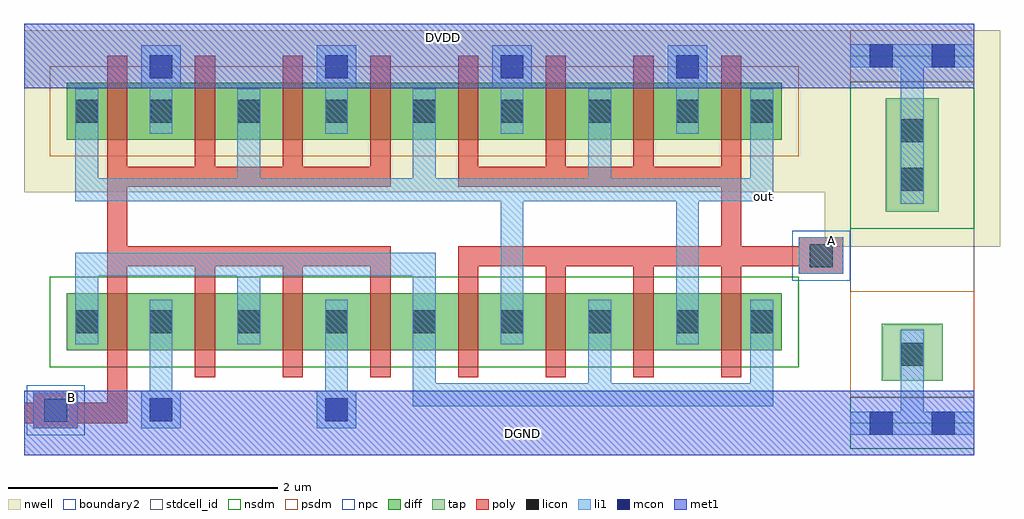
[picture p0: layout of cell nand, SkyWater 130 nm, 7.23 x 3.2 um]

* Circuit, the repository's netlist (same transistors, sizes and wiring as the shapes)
** sch_path: /home/student/ee5311/tutorial_5/nand.sch
.subckt nand DVDD DGND A B out
*.PININFO DVDD:B DGND:B A:B B:B out:B
XM1 DVDD B out DVDD sky130_fd_pr__pfet_01v8 L=0.15 W=1.68 nf=1
XM2 out A DVDD DVDD sky130_fd_pr__pfet_01v8 L=0.15 W=1.68 nf=1
XM3 out A net1 DGND sky130_fd_pr__nfet_01v8 L=0.15 W=1.68 nf=1
XM4 DGND B net1 DGND sky130_fd_pr__nfet_01v8 L=0.15 W=1.68 nf=1
.ends

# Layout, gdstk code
import gdstk
lib = gdstk.Library(unit=1e-6, precision=1e-09)
def R(c, l, rs):  # rectangles x0, y0, x1, y1
    for r in rs: c.add(gdstk.rectangle(r[:2], r[2:], *l))
def A(c, l, x, y, w, h, nx, ny, dx, dy):  # array of equal rectangles
    R(c, l, [(x+i*dx, y+j*dy, x+i*dx+w, y+j*dy+h) for i in range(nx) for j in range(ny)])
nwell = (64, 20)
diff = (65, 20)
tap = (65, 44)
poly = (66, 20)
licon = (66, 44)
li1 = (67, 20)
mcon = (67, 44)
met1 = (68, 20)
stdcell_id = (81, 4)
nsdm = (93, 44)
psdm = (94, 20)
npc = (95, 20)
boundary2 = (236, 0)

tap_ = lib.new_cell('tap')
R(tap_, nwell, [(-0.19,1.305,1.11,2.91)])
R(tap_, tap, [(0.235,0.315,0.685,0.735), (0.265,1.565,0.655,2.405)])
R(tap_, licon, [(0.375,0.425,0.545,0.595), (0.375,1.72,0.545,1.89), (0.375,2.08,0.545,2.25)])
R(tap_, li1, [(0,-0.085,0.92,0.085), (0.375,0,0.545,0.69), (0.375,1.625,0.545,2.72), (0,2.635,0.92,2.805)])
R(tap_, mcon, [(0.145,-0.085,0.315,0.085), (0.605,-0.085,0.775,0.085), (0.145,2.635,0.315,2.805), (0.605,2.635,0.775,2.805)])
R(tap_, met1, [(0,-0.24,0.92,0.24), (0,2.48,0.92,2.96)])
R(tap_, stdcell_id, [(0,0,0.92,2.72)])
R(tap_, nsdm, [(0,-0.19,0.92,0.19), (0,1.44,0.92,2.53)])
R(tap_, psdm, [(0,0.19,0.92,0.975), (0,2.53,0.92,2.91)])
R(tap_, boundary2, [(0,0,0.92,2.72)])
tap_.add(gdstk.Label('tap', (0,0), layer=83, texttype=44))

pfet = lib.new_cell('pfet')
R(pfet, nwell, [(-0.315,-0.39,5.615,0.81)])
R(pfet, diff, [(0,0,5.3,0.42)])
A(pfet, poly, 0.3, -0.2, 0.15, 0.82, 8, 1, 0.65, 0)
A(pfet, licon, 0.615, 0.125, 0.17, 0.17, 7, 1, 0.65, 0)
R(pfet, licon, [(0.065,0.125,0.235,0.295), (5.065,0.125,5.235,0.295)])
A(pfet, li1, 0.615, 0.045, 0.17, 0.33, 7, 1, 0.65, 0)
R(pfet, li1, [(0.065,0.045,0.235,0.375), (5.065,0.045,5.235,0.375)])
R(pfet, psdm, [(-0.125,-0.125,5.425,0.545)])

vias_gen = lib.new_cell('vias_gen')
R(vias_gen, li1, [(0,0,0.29,0.32)])
R(vias_gen, mcon, [(0.06,0.075,0.23,0.245)])
R(vias_gen, met1, [(0,0,0.29,0.32)])

vias_gen_2 = lib.new_cell('vias_gen$2')
R(vias_gen_2, li1, [(0,0,0.29,0.28)])
R(vias_gen_2, mcon, [(0.06,0.055,0.23,0.225)])
R(vias_gen_2, met1, [(0,0,0.29,0.28)])

nfet = lib.new_cell('nfet')
R(nfet, diff, [(0,0,5.3,0.42)])
A(nfet, poly, 0.3, -0.2, 0.15, 0.82, 8, 1, 0.65, 0)
A(nfet, licon, 0.615, 0.125, 0.17, 0.17, 7, 1, 0.65, 0)
R(nfet, licon, [(0.065,0.125,0.235,0.295), (5.065,0.125,5.235,0.295)])
A(nfet, li1, 0.615, 0.045, 0.17, 0.33, 7, 1, 0.65, 0)
R(nfet, li1, [(0.065,0.045,0.235,0.375), (5.065,0.045,5.235,0.375)])
R(nfet, nsdm, [(-0.125,-0.125,5.425,0.545)])

vias_gen_1 = lib.new_cell('vias_gen$1')
R(vias_gen_1, poly, [(0,0,0.33,0.27)])
R(vias_gen_1, licon, [(0.08,0.05,0.25,0.22)])
R(vias_gen_1, li1, [(0,0,0.33,0.27)])
R(vias_gen_1, npc, [(-0.05,-0.05,0.38,0.32)])

nand = lib.new_cell('nand')
nand.add(gdstk.FlexPath([(-1.735,2.165),(-1.735,2.49)], 0.17, ends="flush", simple_path=True, layer=67, datatype=20))  # li1
nand.add(gdstk.FlexPath([(-0.435,2.165),(-0.435,2.49)], 0.17, ends="flush", simple_path=True, layer=67, datatype=20))  # li1
nand.add(gdstk.FlexPath([(0.865,2.165),(0.865,2.49)], 0.17, ends="flush", simple_path=True, layer=67, datatype=20))  # li1
nand.add(gdstk.FlexPath([(2.165,2.165),(2.165,2.49)], 0.17, ends="flush", simple_path=True, layer=67, datatype=20))  # li1
nand.add(gdstk.FlexPath([(-0.435,0.275),(-0.435,-0.35)], 0.17, ends="flush", simple_path=True, layer=67, datatype=20))  # li1
nand.add(gdstk.FlexPath([(-1.735,0.275),(-1.735,-0.35)], 0.17, ends="flush", simple_path=True, layer=67, datatype=20))  # li1
nand.add(gdstk.FlexPath([(2.165,0.605),(2.165,1.335)], 0.17, ends="flush", simple_path=True, layer=67, datatype=20))  # li1
nand.add(gdstk.FlexPath([(0.865,0.605),(0.865,1.335)], 0.17, ends="flush", simple_path=True, layer=67, datatype=20))  # li1
nand.add(gdstk.FlexPath([(1.43,-0.1),(0.3,-0.1)], 0.17, ends="flush", simple_path=True, layer=67, datatype=20))  # li1
nand.add(gdstk.FlexPath([(2.63,-0.1),(1.6,-0.1)], 0.17, ends="flush", simple_path=True, layer=67, datatype=20))  # li1
nand.add(gdstk.FlexPath([(0.215,-0.185),(0.215,0.275)], 0.17, ends="flush", simple_path=True, layer=67, datatype=20))  # li1
nand.add(gdstk.FlexPath([(1.515,-0.185),(1.515,0.275)], 0.17, ends="flush", simple_path=True, layer=67, datatype=20))  # li1
nand.add(gdstk.FlexPath([(2.715,-0.185),(2.715,0.275)], 0.17, ends="flush", simple_path=True, layer=67, datatype=20))  # li1
nand.add(gdstk.FlexPath([(-2.285,1.835),(-2.285,1.335)], 0.17, ends="flush", simple_path=True, layer=67, datatype=20))  # li1
nand.add(gdstk.FlexPath([(-2.2,1.42),(2.8,1.42)], 0.17, ends="flush", simple_path=True, layer=67, datatype=20))  # li1
nand.add(gdstk.FlexPath([(2.715,1.835),(2.715,1.505)], 0.17, ends="flush", simple_path=True, layer=67, datatype=20))  # li1
nand.add(gdstk.FlexPath([(1.515,1.835),(1.515,1.505)], 0.17, ends="flush", simple_path=True, layer=67, datatype=20))  # li1
nand.add(gdstk.FlexPath([(0.215,1.835),(0.215,1.505)], 0.17, ends="flush", simple_path=True, layer=67, datatype=20))  # li1
nand.add(gdstk.FlexPath([(-1.085,1.835),(-1.085,1.505)], 0.17, ends="flush", simple_path=True, layer=67, datatype=20))  # li1
nand.add(gdstk.FlexPath([(-1.085,0.45),(-1.085,0.78)], 0.17, ends="flush", simple_path=True, layer=67, datatype=20))  # li1
nand.add(gdstk.FlexPath([(0.215,0.45),(0.215,0.78)], 0.17, ends="flush", simple_path=True, layer=67, datatype=20))  # li1
nand.add(gdstk.FlexPath([(-2.2,0.865),(0.3,0.865)], 0.17, ends="flush", simple_path=True, layer=67, datatype=20))  # li1
nand.add(gdstk.FlexPath([(-2.285,0.45),(-2.285,0.95)], 0.17, ends="flush", simple_path=True, layer=67, datatype=20))  # li1
nand.add(gdstk.FlexPath([(2.49,1.59),(2.49,0.85)], 0.15, ends="flush", simple_path=True, layer=66, datatype=20))  # poly
nand.add(gdstk.FlexPath([(-2.06,1.59),(-2.06,0.85),(-2.06,0.85),(-2.06,0.85)], 0.15, ends="flush", simple_path=True, layer=66, datatype=20))  # poly
nand.add(gdstk.FlexPath([(0.465,1.515),(1.115,1.515)], 0.15, ends="flush", simple_path=True, layer=66, datatype=20))  # poly
nand.add(gdstk.FlexPath([(1.115,1.515),(1.765,1.515)], 0.15, ends="flush", simple_path=True, layer=66, datatype=20))  # poly
nand.add(gdstk.FlexPath([(1.765,1.515),(2.415,1.515)], 0.15, ends="flush", simple_path=True, layer=66, datatype=20))  # poly
nand.add(gdstk.FlexPath([(-2.28,-0.235),(-2.135,-0.235)], 0.15, ends="flush", simple_path=True, layer=66, datatype=20))  # poly
nand.add(gdstk.FlexPath([(-2.06,0.03),(-2.06,-0.31)], 0.15, ends="flush", simple_path=True, layer=66, datatype=20))  # poly
nand.add(gdstk.FlexPath([(-2.28,-0.235),(-2.75,-0.235)], 0.15, ends="flush", simple_path=True, layer=66, datatype=20))  # poly
nand.add(gdstk.FlexPath([(-1.985,0.925),(-1.335,0.925)], 0.15, ends="flush", simple_path=True, layer=66, datatype=20))  # poly
nand.add(gdstk.FlexPath([(-1.335,0.925),(-0.685,0.925)], 0.15, ends="flush", simple_path=True, layer=66, datatype=20))  # poly
nand.add(gdstk.FlexPath([(-0.685,0.925),(-0.035,0.925)], 0.15, ends="flush", simple_path=True, layer=66, datatype=20))  # poly
nand.add(gdstk.FlexPath([(2.565,0.925),(3.32,0.925),(3.32,0.925)], 0.15, ends="flush", simple_path=True, layer=66, datatype=20))  # poly
nand.add(gdstk.FlexPath([(-0.685,1.515),(-0.035,1.515)], 0.15, ends="flush", simple_path=True, layer=66, datatype=20))  # poly
nand.add(gdstk.FlexPath([(-1.335,1.515),(-0.685,1.515)], 0.15, ends="flush", simple_path=True, layer=66, datatype=20))  # poly
nand.add(gdstk.FlexPath([(-1.985,1.515),(-1.335,1.515)], 0.15, ends="flush", simple_path=True, layer=66, datatype=20))  # poly
nand.add(gdstk.FlexPath([(0.465,0.925),(1.115,0.925)], 0.15, ends="flush", simple_path=True, layer=66, datatype=20))  # poly
nand.add(gdstk.FlexPath([(1.115,0.925),(1.765,0.925)], 0.15, ends="flush", simple_path=True, layer=66, datatype=20))  # poly
nand.add(gdstk.FlexPath([(1.765,0.925),(2.415,0.925)], 0.15, ends="flush", simple_path=True, layer=66, datatype=20))  # poly
nand.add(gdstk.FlexPath([(3.37,2.41),(-2.75,2.41)], 0.48, ends="flush", simple_path=True, layer=68, datatype=20))  # met1
nand.add(gdstk.FlexPath([(3.37,-0.31),(-2.75,-0.31)], 0.48, ends="flush", simple_path=True, layer=68, datatype=20))  # met1
nand.add(gdstk.Reference(tap_, (3.37,-0.31)))
nand.add(gdstk.Reference(pfet, (-2.435,1.79)))
nand.add(gdstk.Reference(vias_gen, (-1.88,2.17)))
nand.add(gdstk.Reference(vias_gen, (-0.58,2.17)))
nand.add(gdstk.Reference(vias_gen, (0.72,2.17)))
nand.add(gdstk.Reference(vias_gen, (2.02,2.17)))
nand.add(gdstk.Reference(vias_gen_2, (-0.58,-0.35)))
nand.add(gdstk.Reference(vias_gen_2, (-1.88,-0.35)))
nand.add(gdstk.Reference(nfet, (-2.435,0.23)))
nand.add(gdstk.Reference(vias_gen_1, (-2.68,-0.35)))
nand.add(gdstk.Reference(vias_gen_1, (2.99,0.795)))
nand.add(gdstk.Label('DVDD', (0.36,2.545), layer=68, texttype=5))
nand.add(gdstk.Label('DGND', (0.94,-0.39), layer=68, texttype=5))
nand.add(gdstk.Label('B', (-2.4,-0.12), layer=67, texttype=5))
nand.add(gdstk.Label('out', (2.725,1.365), layer=67, texttype=5))
nand.add(gdstk.Label('A', (3.23,1.045), layer=67, texttype=5))

lib.write_gds('nand.gds')
